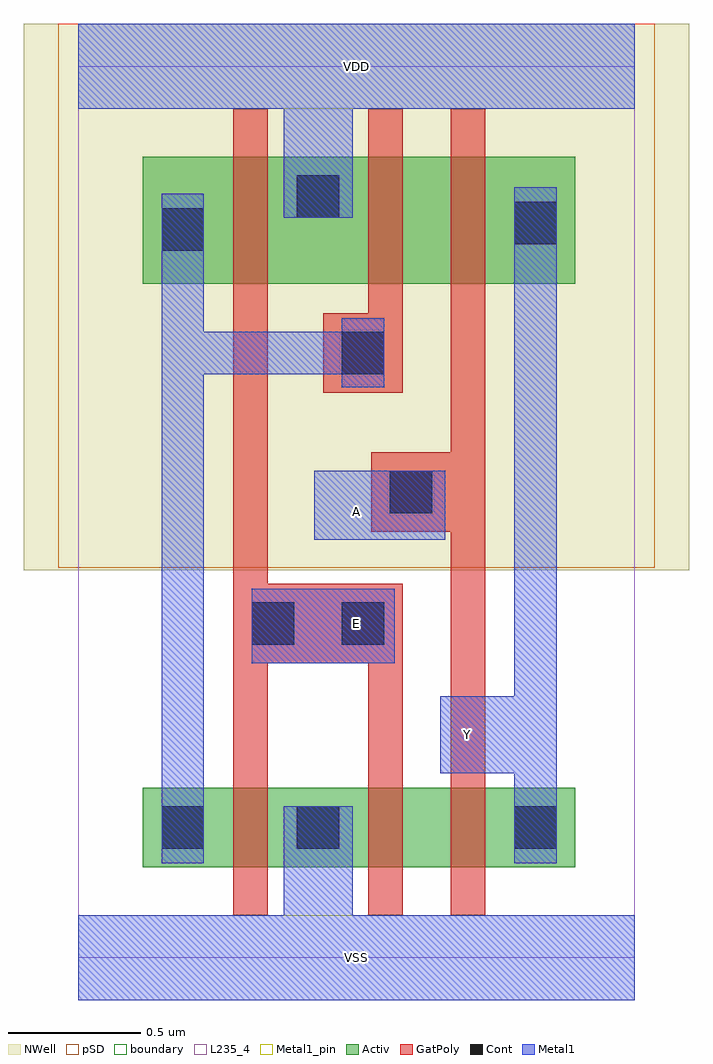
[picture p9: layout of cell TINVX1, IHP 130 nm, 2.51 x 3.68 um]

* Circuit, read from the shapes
.subckt TINVX1 A E VDD VSS Y
XM1 VSS E n1 VSUBS sg13_lv_nmos w=0.3u l=0.13u
XM2 n2 E VSS VSUBS sg13_lv_nmos w=0.3u l=0.13u
XM3 Y A n2 VSUBS sg13_lv_nmos w=0.3u l=0.13u
XM4 VDD E n1 n3 sg13_lv_pmos w=0.48u l=0.13u
XM5 n4 n1 VDD n3 sg13_lv_pmos w=0.48u l=0.13u
XM6 Y A n4 n3 sg13_lv_pmos w=0.48u l=0.13u
.ends

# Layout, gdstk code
import gdstk
lib = gdstk.Library(unit=1e-6, precision=1e-09)
def R(c, l, rs):  # rectangles x0, y0, x1, y1
    for r in rs: c.add(gdstk.rectangle(r[:2], r[2:], *l))
def P(c, l, *ps):  # polygons
    for p in ps: c.add(gdstk.Polygon(p, *l))
Activ = (1, 0)
GatPoly = (5, 0)
Cont = (6, 0)
Metal1 = (8, 0)
Metal1_pin = (8, 2)
pSD = (14, 0)
NWell = (31, 0)
boundary = (189, 4)
L235_4 = (235, 4)

tinvx1 = lib.new_cell('TINVX1')
R(tinvx1, Activ, [(0.245,0.34,1.875,0.64), (0.245,2.54,1.875,3.02)])
P(tinvx1, GatPoly, [(1.405,0.16),(1.405,1.605),(1.105,1.605),(1.105,1.905),(1.405,1.905),(1.405,3.2),(1.535,3.2),(1.535,0.16)],
  [(0.585,0.16),(0.585,3.2),(0.715,3.2),(0.715,1.41),(1.225,1.41),(1.225,0.16),(1.095,0.16),(1.095,1.11),(0.715,1.11),(0.715,0.16)],
  [(0.925,2.13),(0.925,2.43),(1.095,2.43),(1.095,3.2),(1.225,3.2),(1.225,2.13)])
R(tinvx1, Cont, [(0.315,0.41,0.475,0.57), (0.825,0.41,0.985,0.57), (1.645,0.41,1.805,0.57), (0.655,1.18,0.815,1.34), (0.995,1.18,1.155,1.34), (1.175,1.675,1.335,1.835), (0.995,2.2,1.155,2.36), (0.315,2.665,0.475,2.825), (1.645,2.69,1.805,2.85), (0.825,2.79,0.985,2.95)])
R(tinvx1, Metal1, [(0.655,1.11,1.195,1.39), (0.89,1.575,1.385,1.835)])
P(tinvx1, Metal1, [(0,-0.16),(0,0.16),(0.775,0.16),(0.775,0.57),(1.035,0.57),(1.035,0.16),(2.1,0.16),(2.1,-0.16)],
  [(0.775,2.79),(0.775,3.2),(0,3.2),(0,3.52),(2.1,3.52),(2.1,3.2),(1.035,3.2),(1.035,2.79)],
  [(1.645,0.355),(1.645,0.695),(1.365,0.695),(1.365,0.985),(1.645,0.985),(1.645,2.905),(1.805,2.905),(1.805,0.355)],
  [(0.315,0.355),(0.315,2.88),(0.475,2.88),(0.475,2.36),(0.995,2.36),(0.995,2.41),(1.155,2.41),(1.155,2.15),(0.995,2.15),(0.995,2.2),(0.475,2.2),(0.475,0.355)])
R(tinvx1, Metal1_pin, [(0,-0.16,2.1,0.16), (0.655,1.11,1.195,1.39), (0.89,1.575,1.385,1.835), (0,3.2,2.1,3.52)])
P(tinvx1, Metal1_pin, [(1.645,0.355),(1.645,0.695),(1.365,0.695),(1.365,0.985),(1.645,0.985),(1.645,2.905),(1.805,2.905),(1.805,0.355)])
R(tinvx1, pSD, [(-0.075,1.47,2.175,3.52)])
R(tinvx1, NWell, [(-0.205,1.46,2.305,3.52)])
R(tinvx1, boundary, [(0,0,2.1,3.36)])
R(tinvx1, L235_4, [(0,0,2.1,3.36)])
tinvx1.add(gdstk.Label('A', (1.05,1.68), layer=8, texttype=25))
tinvx1.add(gdstk.Label('VSS', (1.05,0), layer=8, texttype=25))
tinvx1.add(gdstk.Label('E', (1.05,1.26), layer=8, texttype=25))
tinvx1.add(gdstk.Label('VDD', (1.05,3.36), layer=8, texttype=25))
tinvx1.add(gdstk.Label('Y', (1.47,0.84), layer=8, texttype=25))

lib.write_gds('TINVX1.gds')
